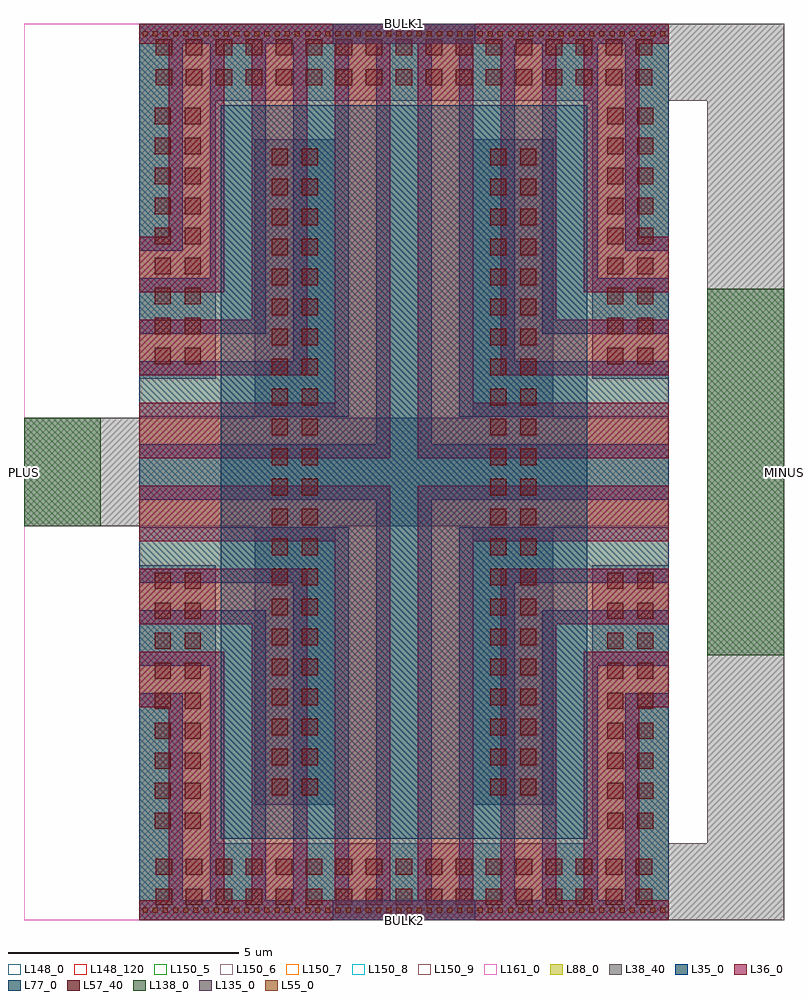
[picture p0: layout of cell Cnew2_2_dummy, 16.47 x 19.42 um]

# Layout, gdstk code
import gdstk
lib = gdstk.Library(unit=1e-6, precision=1e-09)
def R(c, l, rs):  # rectangles x0, y0, x1, y1
    for r in rs: c.add(gdstk.rectangle(r[:2], r[2:], *l))
def A(c, l, x, y, w, h, nx, ny, dx, dy):  # array of equal rectangles
    R(c, l, [(x+i*dx, y+j*dy, x+i*dx+w, y+j*dy+h) for i in range(nx) for j in range(ny)])
def P(c, l, *ps):  # polygons
    for p in ps: c.add(gdstk.Polygon(p, *l))
L35_0 = (35, 0)
L36_0 = (36, 0)
L38_40 = (38, 40)
L55_0 = (55, 0)
L57_40 = (57, 40)
L77_0 = (77, 0)
L88_0 = (88, 0)
L135_0 = (135, 0)
L138_0 = (138, 0)
L148_0 = (148, 0)
L148_120 = (148, 120)
L150_5 = (150, 5)
L150_6 = (150, 6)
L150_7 = (150, 7)
L150_8 = (150, 8)
L150_9 = (150, 9)
L161_0 = (161, 0)

cnew2_2_dummy = lib.new_cell('Cnew2_2_dummy')
R(cnew2_2_dummy, L35_0, [(-1.76,-1.76,-0.825,2.55), (-1.76,-1.76,9.71,-1.33), (-0.225,-1.76,0.975,4.35), (1.575,-1.76,2.775,6.15), (3.375,-1.76,4.575,17.66), (5.175,-1.76,6.375,6.15), (6.975,-1.76,8.175,4.35), (8.775,-1.76,9.71,2.55), (-1.76,1.95,-0.825,3.15), (8.775,1.95,9.71,3.15), (-1.76,3.75,0.975,4.95), (6.975,3.75,9.71,4.95), (-1.76,5.55,2.775,6.75), (5.175,5.55,9.71,6.75), (-1.76,7.35,9.71,8.55), (-1.76,9.15,2.775,10.35), (5.175,9.15,9.71,10.35), (1.575,9.75,2.775,17.66), (5.175,9.75,6.375,17.66), (-1.76,10.95,0.975,12.15), (6.975,10.95,9.71,12.15), (-0.225,11.55,0.975,17.66), (6.975,11.55,8.175,17.66), (-1.76,12.75,-0.825,13.95), (8.775,12.75,9.71,13.95), (-1.76,13.35,-0.825,17.66), (8.775,13.35,9.71,17.66), (-1.76,17.23,9.71,17.66)])
R(cnew2_2_dummy, L36_0, [(-1.76,-1.76,9.71,-1.33), (-1.125,-1.76,0.075,3.45), (0.675,-1.76,1.875,5.25), (2.475,-1.76,3.675,7.05), (4.275,-1.76,5.475,7.05), (6.075,-1.76,7.275,5.25), (7.875,-1.76,9.075,3.45), (-1.76,2.85,0.075,4.05), (7.875,2.85,9.71,4.05), (-1.76,4.65,1.875,5.85), (6.075,4.65,9.71,5.85), (-1.76,6.45,3.675,7.65), (4.275,6.45,9.71,7.65), (-1.76,8.25,3.675,9.45), (4.275,8.25,9.71,9.45), (2.475,8.85,3.675,17.66), (4.275,8.85,5.475,17.66), (-1.76,10.05,1.875,11.25), (6.075,10.05,9.71,11.25), (0.675,10.65,1.875,17.66), (6.075,10.65,7.275,17.66), (-1.76,11.85,0.075,13.05), (7.875,11.85,9.71,13.05), (-1.125,12.45,0.075,17.66), (7.875,12.45,9.075,17.66), (-1.76,17.23,9.71,17.66)])
R(cnew2_2_dummy, L38_40, [(9.71,-1.76,12.21,-0.1), (10.55,-1.76,12.21,17.66), (0.74,0.74,2.48,6.77), (5.47,0.74,7.21,6.77), (-4.26,6.77,9.71,9.13), (0.74,9.13,2.48,15.16), (0.74,9.13,2.48,15.16), (5.47,9.13,7.21,15.16), (5.47,9.13,7.21,15.16), (9.71,16,12.21,17.66)])
P(cnew2_2_dummy, L38_40, [(-0.1,16),(8.05,16),(8.05,9.97),(9.71,9.97),(9.71,17.66),(-1.76,17.66),(-1.76,9.97),(-0.1,9.97)],
  [(-1.76,5.93),(-1.76,-1.76),(9.71,-1.76),(9.71,5.93),(8.05,5.93),(8.05,-0.1),(-0.1,-0.1),(-0.1,5.93)])
A(cnew2_2_dummy, L55_0, -1.69, -1.6, 0.11, 0.11, 52, 2, 0.22, 18.99)
A(cnew2_2_dummy, L57_40, -1.4, -1.43, 0.35, 0.35, 17, 2, 0.65, 0.65)
A(cnew2_2_dummy, L57_40, -1.43, 0.22, 0.35, 0.35, 1, 9, 0, 0.65)
A(cnew2_2_dummy, L57_40, -0.78, 0.22, 0.35, 0.35, 1, 9, 0, 0.65)
A(cnew2_2_dummy, L57_40, 8.38, 0.22, 0.35, 0.35, 1, 9, 0, 0.65)
A(cnew2_2_dummy, L57_40, 9.03, 0.22, 0.35, 0.35, 1, 9, 0, 0.65)
A(cnew2_2_dummy, L57_40, 1.11, 0.95, 0.35, 0.35, 1, 22, 0, 0.65)
A(cnew2_2_dummy, L57_40, 1.76, 0.95, 0.35, 0.35, 1, 22, 0, 0.65)
A(cnew2_2_dummy, L57_40, 5.84, 0.95, 0.35, 0.35, 1, 22, 0, 0.65)
A(cnew2_2_dummy, L57_40, 6.49, 0.95, 0.35, 0.35, 1, 22, 0, 0.65)
A(cnew2_2_dummy, L57_40, -1.43, 10.29, 0.35, 0.35, 1, 9, 0, 0.65)
A(cnew2_2_dummy, L57_40, -0.78, 10.29, 0.35, 0.35, 1, 9, 0, 0.65)
A(cnew2_2_dummy, L57_40, 8.38, 10.29, 0.35, 0.35, 1, 9, 0, 0.65)
A(cnew2_2_dummy, L57_40, 9.03, 10.29, 0.35, 0.35, 1, 9, 0, 0.65)
A(cnew2_2_dummy, L57_40, -1.4, 16.33, 0.35, 0.35, 17, 2, 0.65, 0.65)
R(cnew2_2_dummy, L77_0, [(0,0,7.95,15.9)])
R(cnew2_2_dummy, L88_0, [(-1.76,-1.76,9.71,17.66)])
R(cnew2_2_dummy, L135_0, [(2.435,-1.76,5.515,-1.33), (2.435,17.23,5.515,17.66)])
R(cnew2_2_dummy, L138_0, [(10.55,3.975,12.21,11.925), (-4.26,6.77,-2.6,9.13)])
R(cnew2_2_dummy, L148_0, [(-4.26,-1.76,12.21,17.66)])
R(cnew2_2_dummy, L148_120, [(-4.26,-1.76,12.21,17.66)])
R(cnew2_2_dummy, L150_5, [(-4.26,-1.76,12.21,17.66)])
R(cnew2_2_dummy, L150_6, [(-4.26,-1.76,12.21,17.66)])
R(cnew2_2_dummy, L150_7, [(-4.26,-1.76,12.21,17.66)])
R(cnew2_2_dummy, L150_8, [(-4.26,-1.76,12.21,17.66)])
R(cnew2_2_dummy, L150_9, [(-4.26,-1.76,12.21,17.66)])
R(cnew2_2_dummy, L161_0, [(-4.26,-1.76,12.21,17.66)])
cnew2_2_dummy.add(gdstk.Label('BULK1', (3.975,17.66), layer=135, texttype=0))
cnew2_2_dummy.add(gdstk.Label('BULK2', (3.975,-1.76), layer=135, texttype=0))
cnew2_2_dummy.add(gdstk.Label('PLUS', (-4.26,7.95), layer=138, texttype=0))
cnew2_2_dummy.add(gdstk.Label('MINUS', (12.21,7.95), layer=138, texttype=0))

lib.write_gds('Cnew2_2_dummy.gds')
